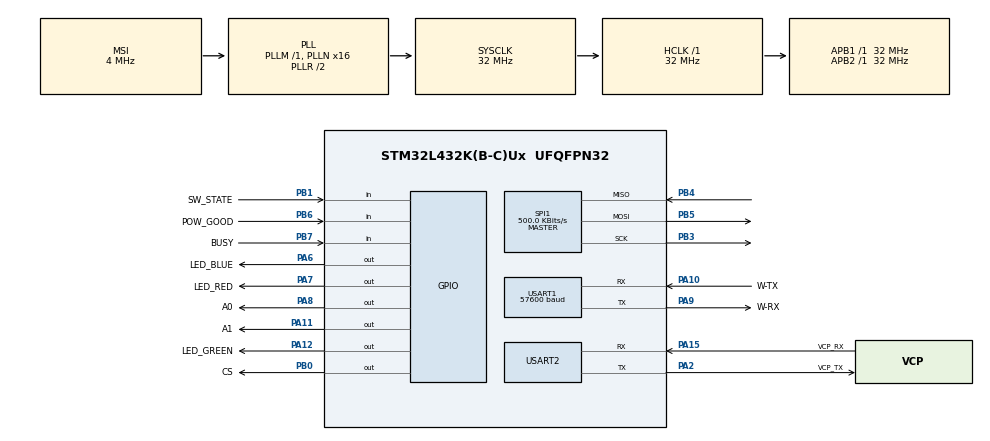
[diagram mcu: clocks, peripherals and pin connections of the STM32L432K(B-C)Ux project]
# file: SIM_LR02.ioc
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Mcu.Family=STM32L4
Mcu.Name=STM32L432K(B-C)Ux
Mcu.Package=UFQFPN32
NVIC.PriorityGroup=NVIC_PRIORITYGROUP_4
NVIC.USART1_IRQn=true\:0\:0\:false\:false\:true\:true\:true\:true
PA0.GPIO_Label=MCO [High speed clock in]
PA0.Mode=HSE-External-Clock-Source-for-LittleOrca
PA0.Signal=RCC_CK_IN
PA10.GPIO_Label=W-TX
PA10.Mode=Asynchronous
PA10.Signal=USART1_RX
PA11.GPIO_Label=A1
PA11.Signal=GPIO_Output
PA12.GPIO_Label=LED_GREEN
PA12.PinState=GPIO_PIN_SET
PA12.Signal=GPIO_Output
PA13\ (JTMS-SWDIO).GPIO_Label=SWDIO
PA13\ (JTMS-SWDIO).Mode=Serial_Wire
PA13\ (JTMS-SWDIO).Signal=SYS_JTMS-SWDIO
PA14\ (JTCK-SWCLK).GPIO_Label=SWCLK
PA14\ (JTCK-SWCLK).Mode=Serial_Wire
PA14\ (JTCK-SWCLK).Signal=SYS_JTCK-SWCLK
PA15\ (JTDI).GPIO_Label=VCP_RX
PA15\ (JTDI).Mode=Asynchronous
PA15\ (JTDI).Signal=USART2_RX
PA2.GPIO_Label=VCP_TX
PA2.Mode=Asynchronous
PA2.Signal=USART2_TX
PA6.GPIO_Label=LED_BLUE
PA6.PinState=GPIO_PIN_SET
PA6.Signal=GPIO_Output
PA7.GPIO_Label=LED_RED
PA7.PinState=GPIO_PIN_SET
PA7.Signal=GPIO_Output
PA8.GPIO_Label=A0
PA8.Signal=GPIO_Output
PA9.GPIO_Label=W-RX
PA9.Mode=Asynchronous
PA9.Signal=USART1_TX
PB0.GPIO_Label=CS
PB0.Signal=GPIO_Output
PB1.GPIO_Label=SW_STATE
PB1.Signal=GPIO_Input
PB3\ (JTDO-TRACESWO).Mode=Full_Duplex_Master
PB3\ (JTDO-TRACESWO).Signal=SPI1_SCK
PB4\ (NJTRST).Mode=Full_Duplex_Master
PB4\ (NJTRST).Signal=SPI1_MISO
PB5.Mode=Full_Duplex_Master
PB5.Signal=SPI1_MOSI
PB6.GPIO_Label=POW_GOOD
PB6.Signal=GPIO_Input
PB7.GPIO_Label=BUSY
PB7.Signal=GPIO_Input
PC14-OSC32_IN\ (PC14).Signal=RCC_OSC32_IN
PC15-OSC32_OUT\ (PC15).Signal=RCC_OSC32_OUT
ProjectManager.HeapSize=0x200
ProjectManager.StackSize=0x400
ProjectManager.TargetToolchain=CMake
RCC.AHBFreq_Value=32000000
RCC.APB1Freq_Value=32000000
RCC.APB1TimFreq_Value=32000000
RCC.APB2Freq_Value=32000000
RCC.APB2TimFreq_Value=32000000
RCC.CortexFreq_Value=32000000
RCC.HCLKFreq_Value=32000000
RCC.HSE_VALUE=8000000
RCC.HSI16_VALUE=16000000
RCC.HSI48_VALUE=48000000
RCC.HSI_VALUE=16000000
RCC.LSE_VALUE=32768
RCC.MSI_VALUE=4000000
RCC.PLLMUL=RCC_PLLMUL_4
RCC.PLLN=16
RCC.SYSCLKFreq_VALUE=32000000
RCC.SYSCLKSource=RCC_SYSCLKSOURCE_PLLCLK
RCC.VCOOutputFreq_Value=64000000
SPI1.BaudRatePrescaler=SPI_BAUDRATEPRESCALER_64
SPI1.CalculateBaudRate=500.0 KBits/s
SPI1.DataSize=SPI_DATASIZE_8BIT
SPI1.Direction=SPI_DIRECTION_2LINES
SPI1.Mode=SPI_MODE_MASTER
SPI1.VirtualType=VM_MASTER
USART1.BaudRate=57600
USART1.VirtualMode-Asynchronous=VM_ASYNC
USART2.VirtualMode-Asynchronous=VM_ASYNC
board=NUCLEO-L432KC

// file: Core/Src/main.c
/* USER CODE BEGIN Header */
/**
  ******************************************************************************
  * @file           : main.c
  * @brief          : Main program body
  ******************************************************************************
  * @attention
  *
  * Copyright (c) 2026 STMicroelectronics.
  * All rights reserved.
  *
  * This software is licensed under terms that can be found in the LICENSE file
  * in the root directory of this software component.
  * If no LICENSE file comes with this software, it is provided AS-IS.
  *
  ******************************************************************************
  */
/* USER CODE END Header */
#include "main.h"

/* USER CODE BEGIN Includes */
#include <stdio.h>
#include <stdarg.h>
#include <string.h>

#include "board.h"
/* USER CODE END Includes */

/* USER CODE BEGIN PTD */
#define false 0
#define true 1
#define CR 13
#define LF 10
#define LED(signal) ((signal) == 0)
#define MAX_REPORTS_SINCE_LAST_COMMAND 60
/* USER CODE END PTD */

SPI_HandleTypeDef hspi1;

UART_HandleTypeDef huart1;
UART_HandleTypeDef huart2;

/* USER CODE BEGIN PV */
SPI_HandleTypeDef *hspiPtr = NULL;
uint32_t cycle = 0;
struct {
  uint8_t len;
  uint8_t size;
  char buf[UART1_TXSIZE];
}uart_out = {0,UART1_TXSIZE,""};

// huart1 is device communication link
struct {
  uint8_t len;
  uint8_t size;
  char buf[UART1_RXSIZE];
}input_cmd = {0,UART1_RXSIZE,""};

int command_received = 0;
uint32_t command_counter = 0;
uint32_t noCommand_counter = 0;
uint32_t prev_command_counter = 0;
int RX_overrun = 0;
uint32_t lastTickMS = 0;

// global variables used in other programs
uint16_t reportingInterval = 1000;// do not report at all if it >= 32000
uint16_t receiveTimeout = 160;
uint32_t tickMS;// Tick count in milliseconds
struct DATACHUNK datachunk = {0,DATACHUNKSIZE};
uint8_t dbg = 1;// 0:no debugging, bit0:debug output to dbgUart, bits[1:7] debugging level
/* USER CODE END PV */

void SystemClock_Config(void);
static void MX_GPIO_Init(void);
static void MX_USART2_UART_Init(void);
static void MX_USART1_UART_Init(void);
static void MX_SPI1_Init(void);

/* USER CODE BEGIN 0 */
void uart_transmit(uint8_t len){
  uart_out.len = len;
  if (HAL_UART_Transmit(&huart1, (uint8_t*)&uart_out.buf, len,
			HAL_MAX_DELAY) != HAL_OK) {
    HAL_GPIO_TogglePin(LED_RED);
  }
}
void uart2_transmit(uint8_t len){
  uart_out.len = len;
  if (HAL_UART_Transmit(&huart2, (uint8_t*)&uart_out.buf, len,
			HAL_MAX_DELAY) != HAL_OK) {
      __NOP();// to place breakpoint
  }
}

void uart_printf(const char* format, ...){
  // printf to main UART
  va_list argptr;
  strcpy(uart_out.buf, "<T");
  va_start(argptr, format);
  vsnprintf(uart_out.buf+2, uart_out.size, format, argptr);
  va_end(argptr);
  int l = strlen(uart_out.buf);
  uart_out.buf[l] = '>';
  uart_out.buf[l+1] = 0;
  uart_transmit(l+1);
  if (dbg&1)  uart2_transmit(l+1);
}
void uart_hexdump(const char* prefix, uint8_t* data, uint8_t len){
  // hexdump to main uart
  uint8_t l;
  strcpy(uart_out.buf,prefix);
  for (int i=0; i<len; i++){
      l = strlen(uart_out.buf);
      snprintf(uart_out.buf+l, uart_out.size-l, "%.2x,", data[i]);
  }
  strncat(uart_out.buf, "\n", uart_out.size);
  uart_transmit(strlen(uart_out.buf));
}

void send_toPIM(const char* prefix, int32_t* data, uint8_t len){
  // Send PIM-formatted int32_t data to main UART
  // Data will be prepended with suffix and appended with '>\n'
  uint8_t l;
  strcpy(uart_out.buf,prefix);
  for (int i=0; i<len; i++){
      l = strlen(uart_out.buf);
      snprintf(uart_out.buf+l, uart_out.size-l, "%li,", data[i]);
  }
  // replace trailing comma with '>'
  l = strlen(uart_out.buf);
  uart_out.buf[l-1] = '>';
  uart_transmit(l);
}
void printe(char* msg){
  //send error message to main UART
  snprintf(uart_out.buf, uart_out.size, "<?ERR: %s>", msg);
  uart_transmit(strlen(uart_out.buf));
  if (dbg&1)  uart2_transmit(uart_out.len);
}
int no_command_received_for_a_long_time(){
  if (noCommand_counter > MAX_REPORTS_SINCE_LAST_COMMAND && recLimit != 0){
    HAL_GPIO_WritePin(LED_RED, LED(1));
    recLimit = 0;// Stop sending samples to PIM if no command received for a long time, to avoid filling up the UART buffer with old data.`
    printe("No command received for a long time. Stopped sending samples.");
    noCommand_counter = 0;
    return true;
  }
  return false;
}

int wait_input(uint16_t timeout){
  //Returns 0: command was processed, 1: timeout, -1: filling of command buffer is not finished, -2: error
  uint8_t byte_received = 0;
  uint16_t to = timeout;
  if (no_command_received_for_a_long_time()){
      to = 1;
  }
  if (to == 0){
      int rxNotEmpty =  __HAL_UART_GET_FLAG(&huart1, UART_FLAG_RXNE);
      if (rxNotEmpty == 0)
	      return 1;
      to = 1;
  }
  HAL_StatusTypeDef r = (HAL_UART_Receive(&huart1, &byte_received, 1, to));
  if (r == HAL_TIMEOUT) //if timeout
    return 1;
  if (r != HAL_OK){
      printe("UART receive error");
      return -2;
  }

  // Character received
  HAL_GPIO_TogglePin(LED_BLUE);
  if (dbg&8)
    uart_printf("DBG8:char: %u\n", byte_received);

  // Process character
  if (input_cmd.len >= input_cmd.size){
      printe("uart1 RX overrun");
      input_cmd.len = 0;
      return -2;
  }else if (byte_received == SER_END_CHAR){
      // Command received, process it
      input_cmd.buf[input_cmd.len] = 0;
      board_process_cmd(input_cmd.buf);
      input_cmd.len = 0;
      return 0;
  }else if (byte_received == SER_START_CHAR){
      // Command begun
      input_cmd.len = 0;
      return -1;
  }else{
      input_cmd.buf[input_cmd.len] = byte_received;
  }
  input_cmd.len ++;
  return -1;
}
/* USER CODE END 0 */

int main(void)
{

  /* USER CODE BEGIN 1 */
  struct BOARD_RESULT statistics;
  /* USER CODE END 1 */

  /* MCU Configuration--------------------------------------------------------*/

  /* Reset of all peripherals, Initializes the Flash interface and the Systick. */
  HAL_Init();

  /* Configure the system clock */
  SystemClock_Config();

  /* Initialize all configured peripherals */
  MX_GPIO_Init();
  MX_USART2_UART_Init();
  MX_USART1_UART_Init();
  MX_SPI1_Init();
  board_init(&hspi1);
  /* Infinite loop */
  /* USER CODE BEGIN WHILE */
  while (1)
  {
    // Wait for 1 char from huart1
    //HAL_Delay(1000);
    int r = wait_input(receiveTimeout);
    if (r == 0){
        // Command received and processed
        command_counter++;
    }
    tickMS =  HAL_GetTick();
    if (board_acquire_sample() != 0){
      if (dbg&2)
	      uart_printf("WAR2:ADC empty");
      //Not an error//HAL_GPIO_TogglePin(LED_RED);
      continue;
    }
    cycle++;
    // One ADC sample acquired and processed, update LEDs.
    //HAL_GPIO_WritePin(LED_GREEN, LED(cycle&1));
    if (datachunk.len >= datachunk.size){
        // The chunk is full.
        send_toPIM("<R", datachunk.buf, datachunk.len);
        datachunk.len = 0;
    }
    if ((tickMS - lastTickMS) > reportingInterval)
      if (reportingInterval < 32000){
        // Reporting interval has elapsed.
        if (command_counter == prev_command_counter){
          noCommand_counter++;
        }else{
            noCommand_counter = 0;
            if (HAL_GPIO_ReadPin(LED_RED) == GPIO_PIN_SET)// If red LED is on, turn it off when command is received.
              HAL_GPIO_WritePin(LED_RED, LED(0));
        }
        prev_command_counter = command_counter;

        // Send statistics.
        lastTickMS = tickMS;
        //uart_printf("cycle %li, @%i ms, recLimit:%i\n", cycle, tickMS, recLimit);
        statistics = board_report();
        //uart_printf("mean*10(%i)=%i, stdev*10=%i, p2p=%i\n", statistics.n, statistics.mean, statistics.stdev, statistics.peak2peak);
        HAL_GPIO_WritePin(LED_GREEN, LED(1));
        send_toPIM("\n<M", (int32_t*)&statistics, 6);
        HAL_GPIO_WritePin(LED_GREEN, LED(0));
        if (dbg&1)  uart2_transmit(uart_out.len);
      };
    /* USER CODE END WHILE */
  }
}

void SystemClock_Config(void)
{
  RCC_OscInitTypeDef RCC_OscInitStruct = {0};
  RCC_ClkInitTypeDef RCC_ClkInitStruct = {0};

  /** Configure the main internal regulator output voltage
  */
  if (HAL_PWREx_ControlVoltageScaling(PWR_REGULATOR_VOLTAGE_SCALE1) != HAL_OK)
  {
    Error_Handler();
  }

  /** Initializes the RCC Oscillators according to the specified parameters
  * in the RCC_OscInitTypeDef structure.
  */
  RCC_OscInitStruct.OscillatorType = RCC_OSCILLATORTYPE_MSI;
  RCC_OscInitStruct.MSIState = RCC_MSI_ON;
  RCC_OscInitStruct.MSICalibrationValue = 0;
  RCC_OscInitStruct.MSIClockRange = RCC_MSIRANGE_6;
  RCC_OscInitStruct.PLL.PLLState = RCC_PLL_ON;
  RCC_OscInitStruct.PLL.PLLSource = RCC_PLLSOURCE_MSI;
  RCC_OscInitStruct.PLL.PLLM = 1;
  RCC_OscInitStruct.PLL.PLLN = 16;
  RCC_OscInitStruct.PLL.PLLP = RCC_PLLP_DIV7;
  RCC_OscInitStruct.PLL.PLLQ = RCC_PLLQ_DIV2;
  RCC_OscInitStruct.PLL.PLLR = RCC_PLLR_DIV2;
  if (HAL_RCC_OscConfig(&RCC_OscInitStruct) != HAL_OK)
  {
    Error_Handler();
  }

  /** Initializes the CPU, AHB and APB buses clocks
  */
  RCC_ClkInitStruct.ClockType = RCC_CLOCKTYPE_HCLK|RCC_CLOCKTYPE_SYSCLK
                              |RCC_CLOCKTYPE_PCLK1|RCC_CLOCKTYPE_PCLK2;
  RCC_ClkInitStruct.SYSCLKSource = RCC_SYSCLKSOURCE_PLLCLK;
  RCC_ClkInitStruct.AHBCLKDivider = RCC_SYSCLK_DIV1;
  RCC_ClkInitStruct.APB1CLKDivider = RCC_HCLK_DIV1;
  RCC_ClkInitStruct.APB2CLKDivider = RCC_HCLK_DIV1;

  if (HAL_RCC_ClockConfig(&RCC_ClkInitStruct, FLASH_LATENCY_1) != HAL_OK)
  {
    Error_Handler();
  }
}

static void MX_SPI1_Init(void)
{

  /* SPI1 parameter configuration*/
  hspi1.Instance = SPI1;
  hspi1.Init.Mode = SPI_MODE_MASTER;
  hspi1.Init.Direction = SPI_DIRECTION_2LINES;
  hspi1.Init.DataSize = SPI_DATASIZE_8BIT;
  hspi1.Init.CLKPolarity = SPI_POLARITY_LOW;
  hspi1.Init.CLKPhase = SPI_PHASE_1EDGE;
  hspi1.Init.NSS = SPI_NSS_SOFT;
  hspi1.Init.BaudRatePrescaler = SPI_BAUDRATEPRESCALER_64;
  hspi1.Init.FirstBit = SPI_FIRSTBIT_MSB;
  hspi1.Init.TIMode = SPI_TIMODE_DISABLE;
  hspi1.Init.CRCCalculation = SPI_CRCCALCULATION_DISABLE;
  hspi1.Init.CRCPolynomial = 7;
  hspi1.Init.CRCLength = SPI_CRC_LENGTH_DATASIZE;
  hspi1.Init.NSSPMode = SPI_NSS_PULSE_ENABLE;
  if (HAL_SPI_Init(&hspi1) != HAL_OK)
  {
    Error_Handler();
  }

}

static void MX_USART1_UART_Init(void)
{

  huart1.Instance = USART1;
  //#huart1.Init.BaudRate = 57600;
  huart1.Init.BaudRate = 115200;
  huart1.Init.WordLength = UART_WORDLENGTH_8B;
  huart1.Init.StopBits = UART_STOPBITS_1;
  huart1.Init.Parity = UART_PARITY_NONE;
  huart1.Init.Mode = UART_MODE_TX_RX;
  huart1.Init.HwFlowCtl = UART_HWCONTROL_NONE;
  huart1.Init.OverSampling = UART_OVERSAMPLING_16;
  huart1.Init.OneBitSampling = UART_ONE_BIT_SAMPLE_DISABLE;
  huart1.AdvancedInit.AdvFeatureInit = UART_ADVFEATURE_NO_INIT;
  if (HAL_UART_Init(&huart1) != HAL_OK)
  {
    Error_Handler();
  }

}

static void MX_USART2_UART_Init(void)
{

  huart2.Instance = USART2;
  huart2.Init.BaudRate = 115200;
  huart2.Init.WordLength = UART_WORDLENGTH_8B;
  huart2.Init.StopBits = UART_STOPBITS_1;
  huart2.Init.Parity = UART_PARITY_NONE;
  huart2.Init.Mode = UART_MODE_TX_RX;
  huart2.Init.HwFlowCtl = UART_HWCONTROL_NONE;
  huart2.Init.OverSampling = UART_OVERSAMPLING_16;
  huart2.Init.OneBitSampling = UART_ONE_BIT_SAMPLE_DISABLE;
  huart2.AdvancedInit.AdvFeatureInit = UART_ADVFEATURE_NO_INIT;
  if (HAL_UART_Init(&huart2) != HAL_OK)
  {
    Error_Handler();
  }

}

static void MX_GPIO_Init(void)
{
  GPIO_InitTypeDef GPIO_InitStruct = {0};

  /* GPIO Ports Clock Enable */
  __HAL_RCC_GPIOC_CLK_ENABLE();
  __HAL_RCC_GPIOA_CLK_ENABLE();
  __HAL_RCC_GPIOB_CLK_ENABLE();

  /*Configure GPIO pin Output Level */
  HAL_GPIO_WritePin(GPIOA, LED_BLUE_Pin|LED_RED_Pin|LED_GREEN_Pin, GPIO_PIN_SET);

  /*Configure GPIO pin Output Level */
  HAL_GPIO_WritePin(CS_GPIO_Port, CS_Pin, GPIO_PIN_RESET);

  /*Configure GPIO pin Output Level */
  HAL_GPIO_WritePin(GPIOA, A0_Pin|A1_Pin, GPIO_PIN_RESET);

  /*Configure GPIO pins : LED_BLUE_Pin LED_RED_Pin A0_Pin A1_Pin
                           LED_GREEN_Pin */
  GPIO_InitStruct.Pin = LED_BLUE_Pin|LED_RED_Pin|A0_Pin|A1_Pin
                          |LED_GREEN_Pin;
  GPIO_InitStruct.Mode = GPIO_MODE_OUTPUT_PP;
  GPIO_InitStruct.Pull = GPIO_NOPULL;
  GPIO_InitStruct.Speed = GPIO_SPEED_FREQ_LOW;
  HAL_GPIO_Init(GPIOA, &GPIO_InitStruct);

  /*Configure GPIO pin : CS_Pin */
  GPIO_InitStruct.Pin = CS_Pin;
  GPIO_InitStruct.Mode = GPIO_MODE_OUTPUT_PP;
  GPIO_InitStruct.Pull = GPIO_NOPULL;
  GPIO_InitStruct.Speed = GPIO_SPEED_FREQ_LOW;
  HAL_GPIO_Init(CS_GPIO_Port, &GPIO_InitStruct);

  /*Configure GPIO pins : SW_STATE_Pin POW_GOOD_Pin BUSY_Pin */
  GPIO_InitStruct.Pin = SW_STATE_Pin|POW_GOOD_Pin|BUSY_Pin;
  GPIO_InitStruct.Mode = GPIO_MODE_INPUT;
  GPIO_InitStruct.Pull = GPIO_NOPULL;
  HAL_GPIO_Init(GPIOB, &GPIO_InitStruct);

}

void Error_Handler(void)
{
  __disable_irq();
  while (1)
  {
  }
}
